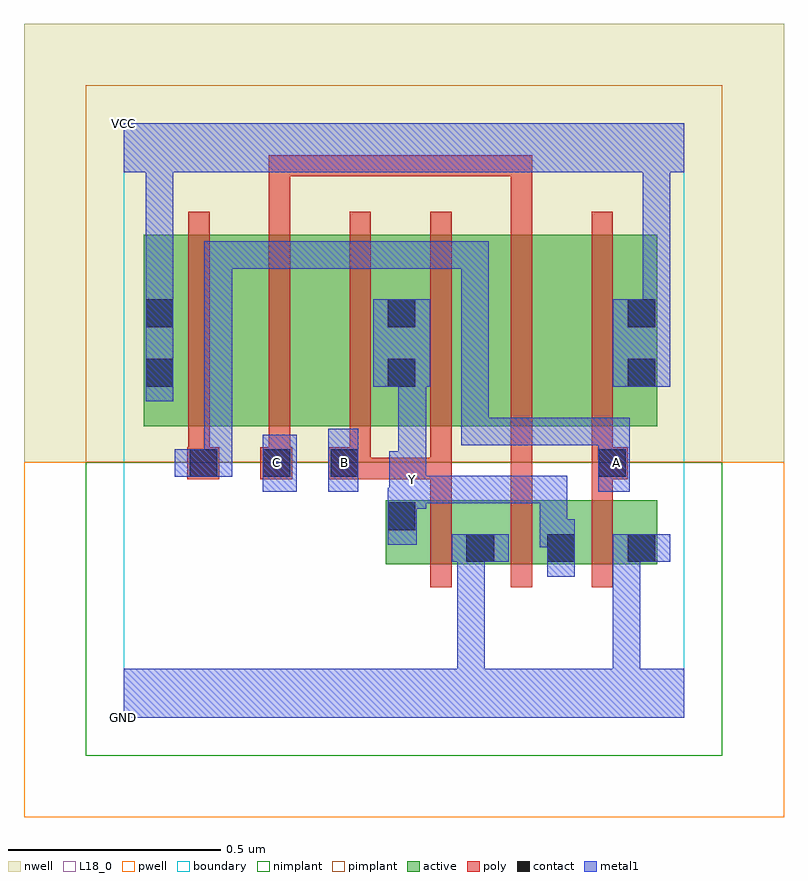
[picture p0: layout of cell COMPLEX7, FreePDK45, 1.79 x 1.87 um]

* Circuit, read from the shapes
.subckt COMPLEX7 A B C GND VCC Y
M1 GND B Y VSUBS nfet w=0.15u l=0.05u
M2 Y C GND VSUBS nfet w=0.15u l=0.05u
M3 GND A Y VSUBS nfet w=0.15u l=0.05u
M4 n1 A VCC n2 pfet w=0.45u l=0.05u
M5 n3 C n1 n2 pfet w=0.45u l=0.05u
M6 Y B n3 n2 pfet w=0.45u l=0.05u
M7 n4 B Y n2 pfet w=0.45u l=0.05u
M8 n5 C n4 n2 pfet w=0.45u l=0.05u
M9 VCC A n5 n2 pfet w=0.45u l=0.05u
.ends

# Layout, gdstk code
import gdstk
lib = gdstk.Library(unit=1e-6, precision=1e-09)
def R(c, l, rs):  # rectangles x0, y0, x1, y1
    for r in rs: c.add(gdstk.rectangle(r[:2], r[2:], *l))
def A(c, l, x, y, w, h, nx, ny, dx, dy):  # array of equal rectangles
    R(c, l, [(x+i*dx, y+j*dy, x+i*dx+w, y+j*dy+h) for i in range(nx) for j in range(ny)])
active = (1, 0)
pwell = (2, 0)
nwell = (3, 0)
nimplant = (4, 0)
pimplant = (5, 0)
poly = (9, 0)
contact = (10, 0)
metal1 = (11, 0)
L18_0 = (18, 0)
boundary = (235, 0)

complex7 = lib.new_cell('COMPLEX7')
R(complex7, active, [(0.617,0.362,0.877,0.512), (0.802,0.362,1.067,0.512), (0.802,0.362,0.877,0.437), (0.992,0.362,1.067,0.512), (0.992,0.362,1.257,0.512), (1.182,0.362,1.257,0.512), (0.617,0.397,0.692,0.512), (0.047,0.687,0.122,1.107), (0.047,0.687,0.272,1.137), (0.272,0.687,0.462,1.137), (0.462,0.687,0.692,1.137), (0.617,0.687,0.842,1.137), (0.842,0.687,1.032,1.137), (1.032,0.687,1.257,1.137), (1.182,0.687,1.257,1.107), (0.617,0.732,0.692,1.07)])
R(complex7, pwell, [(-0.235,-0.235,1.555,0.602)])
R(complex7, nwell, [(-0.235,0.602,1.555,1.635)])
R(complex7, nimplant, [(-0.09,-0.09,1.41,0.602)])
R(complex7, pimplant, [(-0.09,0.602,1.41,1.49)])
A(complex7, poly, 0.722, 0.307, 0.05, 0.26, 3, 1, 0.19, 0)
A(complex7, poly, 0.722, 0.517, 0.05, 0.095, 3, 1, 0.19, 0)
A(complex7, poly, 0.152, 0.587, 0.05, 0.095, 3, 1, 0.19, 0)
A(complex7, poly, 0.152, 0.632, 0.05, 0.56, 6, 1, 0.19, 0)
R(complex7, poly, [(0.15,0.562,0.225,0.637), (0.322,0.562,0.397,0.637), (0.482,0.562,0.582,0.637), (0.532,0.562,0.772,0.612), (0.722,0.562,0.772,0.612), (0.722,0.562,0.772,0.612), (0.722,0.562,0.772,0.612), (0.722,0.562,0.772,0.682), (0.912,0.562,0.962,0.612), (0.912,0.562,0.962,0.682), (1.102,0.562,1.187,0.637), (1.102,0.587,1.152,0.682), (0.342,1.142,0.392,1.325), (0.912,1.142,0.962,1.325), (0.342,1.275,0.392,1.325), (0.342,1.275,0.562,1.325), (0.512,1.275,0.562,1.325), (0.512,1.275,0.562,1.325), (0.512,1.275,0.562,1.325), (0.512,1.275,0.792,1.325), (0.742,1.275,0.792,1.325), (0.742,1.275,0.792,1.325), (0.742,1.275,0.792,1.325), (0.742,1.275,0.962,1.325), (0.912,1.275,0.962,1.325), (0.912,1.275,0.962,1.325), (0.912,1.275,0.962,1.325)])
A(complex7, contact, 0.807, 0.367, 0.065, 0.065, 3, 1, 0.19, 0)
R(complex7, contact, [(0.622,0.442,0.687,0.507), (0.155,0.567,0.22,0.632), (0.327,0.567,0.392,0.632), (0.487,0.567,0.552,0.632), (1.117,0.567,1.182,0.632), (0.052,0.78,0.117,0.845), (0.622,0.78,0.687,0.845), (1.187,0.78,1.252,0.845), (0.052,0.92,0.117,0.985), (0.622,0.92,0.687,0.985), (1.187,0.92,1.252,0.985)])
R(complex7, metal1, [(0,0,1.32,0.115), (0.785,0.05,0.85,0.115), (0.785,0.05,0.85,0.115), (0.785,0.05,0.85,0.432), (1.152,0.05,1.217,0.115), (1.152,0.05,1.217,0.115), (1.152,0.05,1.217,0.432), (0.997,0.332,1.062,0.467), (0.772,0.367,0.907,0.432), (0.785,0.367,0.85,0.432), (0.785,0.367,0.85,0.432), (1.152,0.367,1.217,0.432), (1.152,0.367,1.217,0.432), (1.152,0.367,1.287,0.432), (0.98,0.402,1.062,0.467), (0.98,0.402,1.045,0.57), (0.622,0.407,0.69,0.542), (0.625,0.477,0.69,0.542), (0.625,0.477,0.69,0.57), (0.625,0.477,0.69,0.557), (0.625,0.492,0.712,0.627), (0.625,0.505,0.86,0.57), (0.795,0.505,0.86,0.57), (0.795,0.505,1.045,0.57), (0.327,0.532,0.407,0.667), (0.482,0.532,0.552,0.68), (1.117,0.532,1.192,0.707), (0.647,0.562,0.712,0.845), (0.12,0.567,0.255,0.632), (0.19,0.567,0.255,0.632), (0.19,0.567,0.255,0.632), (0.19,0.567,0.255,1.122), (0.795,0.642,0.86,0.707), (0.795,0.642,0.997,0.707), (0.795,0.642,0.86,1.122), (0.932,0.642,0.997,0.707), (0.932,0.642,0.997,0.707), (0.932,0.642,0.997,0.707), (0.932,0.642,1.182,0.707), (0.052,0.745,0.117,1.02), (0.587,0.78,0.722,0.985), (1.152,0.78,1.287,0.985), (1.222,0.92,1.287,0.985), (1.222,0.92,1.287,0.985), (1.222,0.92,1.287,1.35), (0.052,0.955,0.117,1.35), (0.19,1.057,0.255,1.122), (0.19,1.057,0.407,1.122), (0.342,1.057,0.407,1.122), (0.342,1.057,0.407,1.122), (0.342,1.057,0.407,1.122), (0.342,1.057,0.407,1.122), (0.342,1.057,0.407,1.122), (0.342,1.057,0.545,1.122), (0.48,1.057,0.545,1.122), (0.48,1.057,0.545,1.122), (0.48,1.057,0.545,1.122), (0.48,1.057,0.86,1.122), (0.795,1.057,0.86,1.122), (0.795,1.057,0.86,1.122), (0.795,1.057,0.86,1.122), (0.795,1.057,0.86,1.122), (0.795,1.057,0.86,1.122), (0,1.285,1.32,1.4), (0.052,1.285,0.117,1.35), (0.052,1.285,0.117,1.35)])
R(complex7, L18_0, [(0,0,1.32,0.115), (0.785,0.05,0.85,0.115), (0.785,0.05,0.85,0.115), (0.785,0.05,0.85,0.432), (1.152,0.05,1.217,0.115), (1.152,0.05,1.217,0.115), (1.152,0.05,1.217,0.432), (0.997,0.332,1.062,0.467), (0.772,0.367,0.907,0.432), (0.785,0.367,0.85,0.432), (0.785,0.367,0.85,0.432), (1.152,0.367,1.217,0.432), (1.152,0.367,1.217,0.432), (1.152,0.367,1.287,0.432), (0.98,0.402,1.045,0.57), (0.98,0.402,1.062,0.467), (0.622,0.407,0.69,0.542), (0.625,0.477,0.69,0.542), (0.625,0.477,0.69,0.557), (0.625,0.477,0.69,0.57), (0.625,0.492,0.712,0.627), (0.625,0.505,0.86,0.57), (0.795,0.505,0.86,0.57), (0.795,0.505,1.045,0.57), (0.647,0.527,0.712,0.592), (0.327,0.532,0.407,0.667), (0.482,0.532,0.552,0.68), (1.117,0.532,1.192,0.707), (0.647,0.562,0.712,0.845), (0.12,0.567,0.255,0.632), (0.19,0.567,0.255,0.632), (0.19,0.567,0.255,0.632), (0.19,0.567,0.255,1.122), (0.327,0.567,0.392,0.632), (0.487,0.567,0.552,0.632), (1.127,0.567,1.192,0.632), (0.795,0.642,0.86,0.707), (0.795,0.642,0.86,1.122), (0.795,0.642,0.997,0.707), (0.932,0.642,0.997,0.707), (0.932,0.642,0.997,0.707), (0.932,0.642,0.997,0.707), (0.932,0.642,1.182,0.707), (0.052,0.745,0.117,1.02), (0.587,0.78,0.722,0.985), (1.152,0.78,1.287,0.985), (1.222,0.92,1.287,0.985), (1.222,0.92,1.287,0.985), (1.222,0.92,1.287,1.35), (0.052,0.955,0.117,1.35), (0.19,1.057,0.255,1.122), (0.19,1.057,0.407,1.122), (0.342,1.057,0.407,1.122), (0.342,1.057,0.407,1.122), (0.342,1.057,0.407,1.122), (0.342,1.057,0.407,1.122), (0.342,1.057,0.407,1.122), (0.342,1.057,0.545,1.122), (0.48,1.057,0.545,1.122), (0.48,1.057,0.545,1.122), (0.48,1.057,0.545,1.122), (0.48,1.057,0.86,1.122), (0.795,1.057,0.86,1.122), (0.795,1.057,0.86,1.122), (0.795,1.057,0.86,1.122), (0.795,1.057,0.86,1.122), (0.795,1.057,0.86,1.122), (0,1.285,1.32,1.4), (0.052,1.285,0.117,1.35), (0.052,1.285,0.117,1.35)])
R(complex7, boundary, [(0,0,1.32,1.4)])
complex7.add(gdstk.Label('A', (1.16,0.6), layer=11, texttype=0))
complex7.add(gdstk.Label('B', (0.52,0.6), layer=11, texttype=0))
complex7.add(gdstk.Label('C', (0.36,0.6), layer=11, texttype=0))
complex7.add(gdstk.Label('Y', (0.68,0.56), layer=11, texttype=0))
complex7.add(gdstk.Label('VCC', (0,1.4), layer=11, texttype=0))
complex7.add(gdstk.Label('GND', (0,0), layer=11, texttype=0))

lib.write_gds('COMPLEX7.gds')
